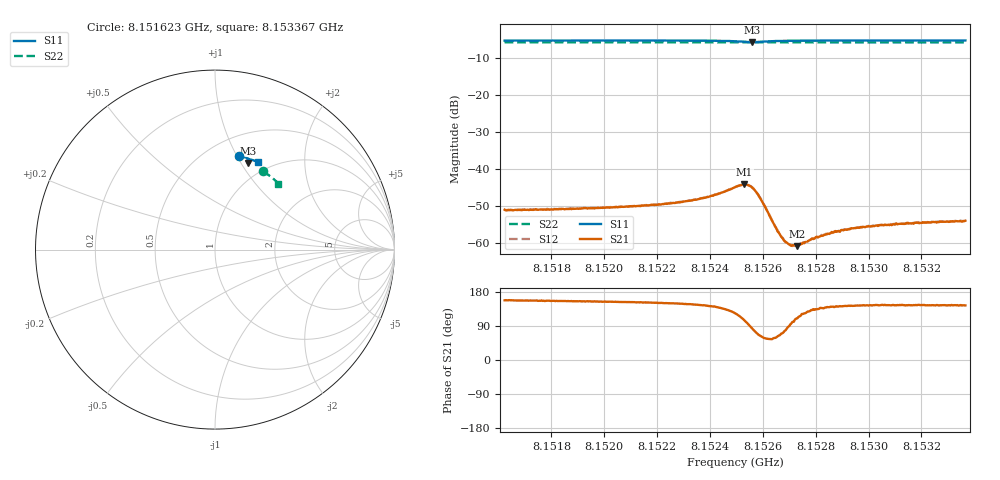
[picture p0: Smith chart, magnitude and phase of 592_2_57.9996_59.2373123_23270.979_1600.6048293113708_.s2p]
#  HZ  S  RI  R  50.00
! Rohde & Schwarz Vector Network Analyzer
! Rohde-Schwarz,ZNB20-2Port,1311601062101988,3.16
! Created: UTC 3/21/2024, 1:16:52 AM
! freq[Hz]  re:S11  im:S11  re:S21  im:S21  re:S12  im:S12  re:S22  im:S22
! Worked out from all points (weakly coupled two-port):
!   401 points, 8.151623 GHz to 8.153367 GHz, reference 50 ohm
!   highest |S21| = -44.13 dB at 8.15253 GHz (marker M1); lowest = -60.8 dB at 8.15273 GHz (marker M2)
!   lowest |S11| = -5.7 dB at 8.15256 GHz (marker M3), VSWR 3.13, Z = 40.8 + j53.6 ohm
!   |S11| at or under -10 dB: nowhere
!   |S22| runs from -5.8 to -5.8 dB; largest |S21 - S12| = 0.00013
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8.151623e9  0.1323 0.5235  -0.00262 0.00108  -0.0026 0.00108  0.267 0.4373
8.1519151e9  0.1526 0.5184  -0.00267 0.00127  -0.00267 0.00131  0.2823 0.4269
8.1522071e9  0.1738 0.5117  -0.00292 0.00166  -0.0029 0.00169  0.2978 0.416
8.1523553e9  0.1858 0.5064  -0.00324 0.00222  -0.00326 0.00226  0.3054 0.4102
8.1524382e9  0.1932 0.5003  -0.0035 0.00318  -0.00347 0.00326  0.3095 0.4067
8.1524948e9  0.1969 0.4912  -0.00314 0.00477  -0.00309 0.00484  0.312 0.4042
8.1525297e9  0.193 0.4833  -0.00163 0.00599  -0.00159 0.00604  0.3136 0.4028
8.1525471e9  0.1879 0.4813  -0.000279 0.00602  -0.000221 0.00609  0.3143 0.402
8.1525602e9  0.1836 0.4822  0.000686 0.00558  0.000785 0.00565  0.3146 0.4016
8.1525733e9  0.1802 0.4849  0.00142 0.0048  0.00152 0.00482  0.3151 0.4013
8.1525907e9  0.1783 0.4899  0.00179 0.00361  0.00189 0.00361  0.3161 0.4008
8.1526474e9  0.1845 0.5  0.000873 0.00142  0.000907 0.00142  0.3191 0.3988
8.1526779e9  0.1887 0.5015  0.000336 0.00107  0.000337 0.0011  0.3207 0.3977
8.152691e9  0.1905 0.5017  0.000124 0.00102  9.93e-05 0.001  0.3214 0.3971
8.152704e9  0.1922 0.5019  -6.27e-05 0.000942  -4.63e-05 0.000966  0.322 0.3967
8.1527302e9  0.1952 0.5019  -0.000309 0.000863  -0.00031 0.000897  0.3234 0.3956
8.1527869e9  0.2007 0.5011  -0.000778 0.00087  -0.000751 0.000865  0.3262 0.3932
8.1528305e9  0.2046 0.5001  -0.000934 0.000888  -0.000954 0.000896  0.3281 0.3913
8.1529046e9  0.2103 0.4984  -0.00118 0.000919  -0.00118 0.000972  0.3318 0.3883
8.1530353e9  0.22 0.495  -0.0014 0.000987  -0.00142 0.00102  0.3382 0.3827
8.1530789e9  0.2231 0.4938  -0.00143 0.00101  -0.00147 0.00104  0.3402 0.3808
8.1533666e9  0.2421 0.4855  -0.00163 0.00119  -0.00161 0.00119  0.3534 0.3681
